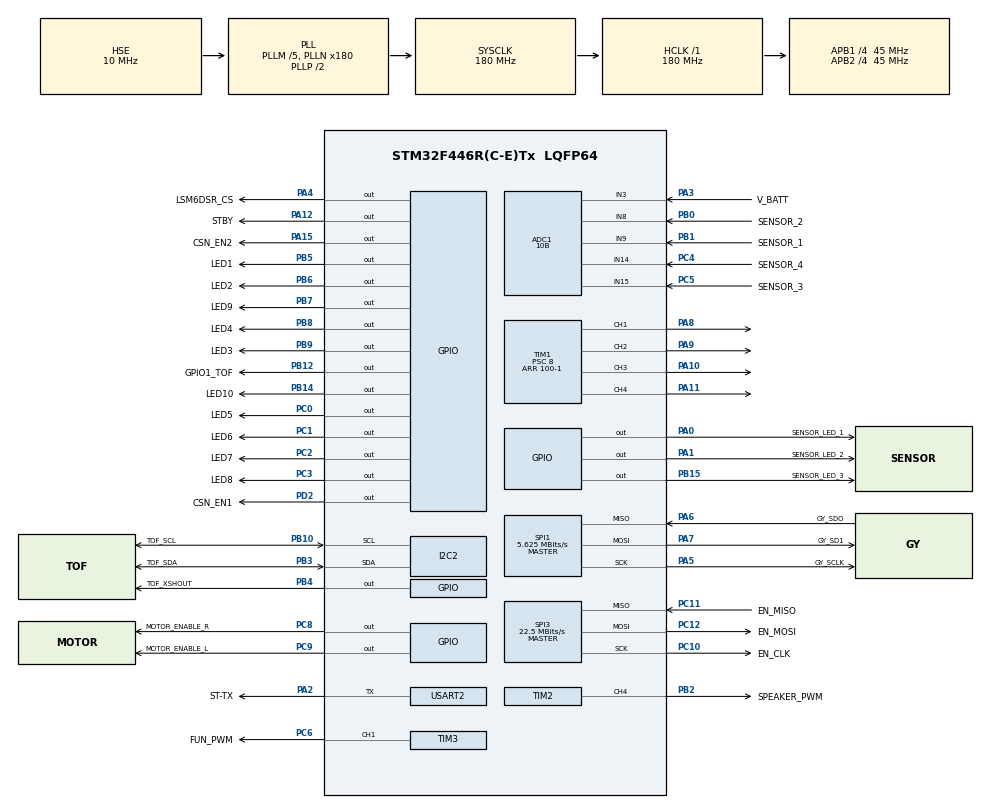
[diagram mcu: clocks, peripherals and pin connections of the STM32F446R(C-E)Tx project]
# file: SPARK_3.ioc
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ADC1.Channel-0\#ChannelRegularConversion=ADC_CHANNEL_3
ADC1.Channel-1\#ChannelRegularConversion=ADC_CHANNEL_9
ADC1.Channel-2\#ChannelRegularConversion=ADC_CHANNEL_8
ADC1.Channel-3\#ChannelRegularConversion=ADC_CHANNEL_15
ADC1.Channel-4\#ChannelRegularConversion=ADC_CHANNEL_14
ADC1.ClockPrescaler=ADC_CLOCK_SYNC_PCLK_DIV8
ADC1.DMAContinuousRequests=ENABLE
ADC1.EOCSelection=ADC_EOC_SINGLE_CONV
ADC1.InjNumberOfConversion=0
ADC1.NbrOfConversion=5
ADC1.NbrOfConversionFlag=1
ADC1.Rank-0\#ChannelRegularConversion=1
ADC1.Rank-1\#ChannelRegularConversion=2
ADC1.Rank-2\#ChannelRegularConversion=3
ADC1.Rank-3\#ChannelRegularConversion=4
ADC1.Rank-4\#ChannelRegularConversion=5
ADC1.Resolution=ADC_RESOLUTION_10B
ADC1.SamplingTime-0\#ChannelRegularConversion=ADC_SAMPLETIME_15CYCLES
ADC1.SamplingTime-1\#ChannelRegularConversion=ADC_SAMPLETIME_15CYCLES
ADC1.SamplingTime-2\#ChannelRegularConversion=ADC_SAMPLETIME_15CYCLES
ADC1.SamplingTime-3\#ChannelRegularConversion=ADC_SAMPLETIME_15CYCLES
ADC1.SamplingTime-4\#ChannelRegularConversion=ADC_SAMPLETIME_15CYCLES
ADC1.ScanConvMode=ENABLE
ADC1.master=1
Dma.ADC1.0.Direction=DMA_PERIPH_TO_MEMORY
Dma.ADC1.0.FIFOMode=DMA_FIFOMODE_DISABLE
Dma.ADC1.0.Instance=DMA2_Stream0
Dma.ADC1.0.MemDataAlignment=DMA_MDATAALIGN_HALFWORD
Dma.ADC1.0.MemInc=DMA_MINC_ENABLE
Dma.ADC1.0.Mode=DMA_NORMAL
Dma.ADC1.0.PeriphDataAlignment=DMA_PDATAALIGN_HALFWORD
Dma.ADC1.0.PeriphInc=DMA_PINC_DISABLE
Dma.ADC1.0.Priority=DMA_PRIORITY_LOW
Dma.Request0=ADC1
Mcu.Family=STM32F4
Mcu.Name=STM32F446R(C-E)Tx
Mcu.Package=LQFP64
NVIC.ADC_IRQn=true\:0\:0\:false\:false\:true\:true\:true\:true
NVIC.DMA2_Stream0_IRQn=true\:0\:0\:false\:false\:true\:false\:true\:true
NVIC.PriorityGroup=NVIC_PRIORITYGROUP_4
NVIC.TIM6_DAC_IRQn=true\:0\:0\:false\:false\:true\:true\:true\:true
PA0-WKUP.GPIO_Label=SENSOR_LED_1
PA0-WKUP.Signal=GPIO_Output
PA1.GPIO_Label=SENSOR_LED_2
PA1.Signal=GPIO_Output
PA10.Signal=S_TIM1_CH3
PA11.Signal=S_TIM1_CH4
PA12.GPIO_Label=STBY
PA12.Signal=GPIO_Output
PA13.Signal=SYS_JTMS-SWDIO
PA14.Signal=SYS_JTCK-SWCLK
PA15.GPIO_Label=CSN_EN2
PA15.Signal=GPIO_Output
PA2.GPIO_Label=ST-TX
PA2.Mode=Half_duplex(single_wire_mode)
PA2.Signal=USART2_TX
PA3.GPIO_Label=V_BATT
PA3.Signal=ADCx_IN3
PA4.GPIO_Label=LSM6DSR_CS
PA4.GPIO_PuPd=GPIO_NOPULL
PA4.PinState=GPIO_PIN_RESET
PA4.Signal=GPIO_Output
PA5.GPIO_Label=GY_SCLK
PA5.Mode=Full_Duplex_Master
PA5.Signal=SPI1_SCK
PA6.GPIO_Label=GY_SDO
PA6.Mode=Full_Duplex_Master
PA6.Signal=SPI1_MISO
PA7.GPIO_Label=GY_SD1
PA7.Mode=Full_Duplex_Master
PA7.Signal=SPI1_MOSI
PA8.Signal=S_TIM1_CH1
PA9.Signal=S_TIM1_CH2
PB0.GPIO_Label=SENSOR_2
PB0.Signal=ADCx_IN8
PB1.GPIO_Label=SENSOR_1
PB1.Signal=ADCx_IN9
PB10.GPIO_Label=TOF_SCL
PB10.Mode=I2C
PB10.Signal=I2C2_SCL
PB12.GPIO_Label=GPIO1_TOF
PB12.Signal=GPIO_Output
PB14.GPIO_Label=LED10
PB14.Signal=GPIO_Output
PB15.GPIO_Label=SENSOR_LED_3
PB15.Signal=GPIO_Output
PB2.GPIO_Label=SPEAKER_PWM
PB2.Signal=S_TIM2_CH4
PB3.GPIO_Label=TOF_SDA
PB3.Mode=I2C
PB3.Signal=I2C2_SDA
PB4.GPIO_Label=TOF_XSHOUT
PB4.Signal=GPIO_Output
PB5.GPIO_Label=LED1
PB5.GPIO_PuPd=GPIO_NOPULL
PB5.PinState=GPIO_PIN_RESET
PB5.Signal=GPIO_Output
PB6.GPIO_Label=LED2
PB6.GPIO_PuPd=GPIO_PULLUP
PB6.PinState=GPIO_PIN_RESET
PB6.Signal=GPIO_Output
PB7.GPIO_Label=LED9
PB7.GPIO_PuPd=GPIO_PULLUP
PB7.PinState=GPIO_PIN_RESET
PB7.Signal=GPIO_Output
PB8.GPIO_Label=LED4
PB8.GPIO_PuPd=GPIO_PULLUP
PB8.PinState=GPIO_PIN_RESET
PB8.Signal=GPIO_Output
PB9.GPIO_Label=LED3
PB9.GPIO_PuPd=GPIO_PULLUP
PB9.PinState=GPIO_PIN_RESET
PB9.Signal=GPIO_Output
PC0.GPIO_Label=LED5
PC0.GPIO_PuPd=GPIO_PULLUP
PC0.PinState=GPIO_PIN_RESET
PC0.Signal=GPIO_Output
PC1.GPIO_Label=LED6
PC1.GPIO_PuPd=GPIO_PULLUP
PC1.PinState=GPIO_PIN_RESET
PC1.Signal=GPIO_Output
PC10.GPIO_Label=EN_CLK
PC10.Mode=Full_Duplex_Master
PC10.Signal=SPI3_SCK
PC11.GPIO_Label=EN_MISO
PC11.Mode=Full_Duplex_Master
PC11.Signal=SPI3_MISO
PC12.GPIO_Label=EN_MOSI
PC12.Mode=Full_Duplex_Master
PC12.Signal=SPI3_MOSI
PC2.GPIO_Label=LED7
PC2.GPIO_PuPd=GPIO_NOPULL
PC2.PinState=GPIO_PIN_RESET
PC2.Signal=GPIO_Output
PC3.GPIO_Label=LED8
PC3.GPIO_PuPd=GPIO_PULLUP
PC3.PinState=GPIO_PIN_RESET
PC3.Signal=GPIO_Output
PC4.GPIO_Label=SENSOR_4
PC4.Signal=ADCx_IN14
PC5.GPIO_Label=SENSOR_3
PC5.Signal=ADCx_IN15
PC6.GPIO_Label=FUN_PWM
PC6.Signal=S_TIM3_CH1
PC8.GPIO_Label=MOTOR_ENABLE_R
PC8.Signal=GPIO_Output
PC9.GPIO_Label=MOTOR_ENABLE_L
PC9.Signal=GPIO_Output
PD2.GPIO_Label=CSN_EN1
PD2.Signal=GPIO_Output
PH0-OSC_IN.Mode=HSE-External-Oscillator
PH0-OSC_IN.Signal=RCC_OSC_IN
PH1-OSC_OUT.Mode=HSE-External-Oscillator
PH1-OSC_OUT.Signal=RCC_OSC_OUT
ProjectManager.HeapSize=0x200
ProjectManager.StackSize=0x400
ProjectManager.TargetToolchain=STM32CubeIDE
RCC.AHBFreq_Value=180000000
RCC.APB1CLKDivider=RCC_HCLK_DIV4
RCC.APB1Freq_Value=45000000
RCC.APB1TimFreq_Value=90000000
RCC.APB2CLKDivider=RCC_HCLK_DIV4
RCC.APB2Freq_Value=45000000
RCC.APB2TimFreq_Value=90000000
RCC.CortexFreq_Value=180000000
RCC.HCLKFreq_Value=180000000
RCC.HSE_VALUE=10000000
RCC.PLLM=5
RCC.PLLN=180
RCC.PLLSourceVirtual=RCC_PLLSOURCE_HSE
RCC.SYSCLKFreq_VALUE=180000000
RCC.SYSCLKSource=RCC_SYSCLKSOURCE_PLLCLK
RCC.USBFreq_Value=180000000
RCC.VCOOutputFreq_Value=360000000
SH.ADCx_IN14.0=ADC1_IN14,IN14
SH.ADCx_IN15.0=ADC1_IN15,IN15
SH.ADCx_IN3.0=ADC1_IN3,IN3
SH.ADCx_IN8.0=ADC1_IN8,IN8
SH.ADCx_IN9.0=ADC1_IN9,IN9
SH.S_TIM1_CH1.0=TIM1_CH1,PWM Generation1 CH1
SH.S_TIM1_CH2.0=TIM1_CH2,PWM Generation2 CH2
SH.S_TIM1_CH3.0=TIM1_CH3,PWM Generation3 CH3
SH.S_TIM1_CH4.0=TIM1_CH4,PWM Generation4 CH4
SH.S_TIM2_CH4.0=TIM2_CH4,PWM Generation4 CH4
SH.S_TIM3_CH1.0=TIM3_CH1,PWM Generation1 CH1
SPI1.BaudRatePrescaler=SPI_BAUDRATEPRESCALER_8
SPI1.CLKPhase=SPI_PHASE_2EDGE
SPI1.CLKPolarity=SPI_POLARITY_HIGH
SPI1.CalculateBaudRate=5.625 MBits/s
SPI1.Direction=SPI_DIRECTION_2LINES
SPI1.Mode=SPI_MODE_MASTER
SPI1.VirtualType=VM_MASTER
SPI3.BaudRatePrescaler=SPI_BAUDRATEPRESCALER_2
SPI3.CLKPhase=SPI_PHASE_2EDGE
SPI3.CLKPolarity=SPI_POLARITY_HIGH
SPI3.CalculateBaudRate=22.5 MBits/s
SPI3.Direction=SPI_DIRECTION_2LINES
SPI3.Mode=SPI_MODE_MASTER
SPI3.VirtualType=VM_MASTER
TIM1.Channel-PWM\ Generation1\ CH1=TIM_CHANNEL_1
TIM1.Channel-PWM\ Generation2\ CH2=TIM_CHANNEL_2
TIM1.Channel-PWM\ Generation3\ CH3=TIM_CHANNEL_3
TIM1.Channel-PWM\ Generation4\ CH4=TIM_CHANNEL_4
TIM1.OCMode_PWM-PWM\ Generation3\ CH3=TIM_OCMODE_PWM1
TIM1.OCMode_PWM-PWM\ Generation4\ CH4=TIM_OCMODE_PWM1
TIM1.Period=100-1
TIM1.Prescaler=8
TIM2.Channel-PWM\ Generation4\ CH4=TIM_CHANNEL_4
TIM2.Period=100-1
TIM2.Prescaler=8-1
TIM2.Pulse-PWM\ Generation4\ CH4=2500-1
TIM3.Channel-PWM\ Generation1\ CH1=TIM_CHANNEL_1
TIM3.Period=100-1
TIM3.Prescaler=8
TIM6.AutoReloadPreload=TIM_AUTORELOAD_PRELOAD_DISABLE
TIM6.Period=1000-1
TIM6.Prescaler=90-1
USART2.Mode=MODE_TX
USART2.VirtualMode=VM_ASYNC
VP_TIM1_VS_ClockSourceINT.Mode=Internal
VP_TIM3_VS_ClockSourceINT.Mode=Internal
VP_TIM4_VS_OPM.Mode=OPM_bit
VP_TIM6_VS_ClockSourceINT.Mode=Enable_Timer
board=custom

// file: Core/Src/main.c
/* USER CODE BEGIN Header */
/**
  ******************************************************************************
  * @file           : main.c
  * @brief          : Main program body
  ******************************************************************************
  * @attention
  *
  * Copyright (c) 2025 STMicroelectronics.
  * All rights reserved.
  *
  * This software is licensed under terms that can be found in the LICENSE file
  * in the root directory of this software component.
  * If no LICENSE file comes with this software, it is provided AS-IS.
  *
  ******************************************************************************
  */
/* USER CODE END Header */
#include "main.h"

/* USER CODE BEGIN Includes */
#include "stdio.h"

#include "PL_timer.h"
#include "PL_sensor.h"

#include "MOTOR.h"

#include "lsm6dsr.h"
#include "MOTOR.h"
#include "SWICH.h"
#include "adc.h"
#include "SPEAKER.h"
#include "PL_encoder.h"
#include "spi.h"
#include "stdio.h"
#include "Define.h"
#include <math.h>
#include "lsm6dsr.h"
#include "PID.h"
#include "mode.h"
#include "led_control.h"
#include "wall.h"
#include "log.h"
#include "move.h"
#include "PL_encoder.h"

//#include "lsm6dsr.h"
//#include "spi.h"

/* USER CODE END Includes */

ADC_HandleTypeDef hadc1;
DMA_HandleTypeDef hdma_adc1;

I2C_HandleTypeDef hi2c2;

SPI_HandleTypeDef hspi1;
SPI_HandleTypeDef hspi3;

TIM_HandleTypeDef htim1;
TIM_HandleTypeDef htim2;
TIM_HandleTypeDef htim3;
TIM_HandleTypeDef htim4;
TIM_HandleTypeDef htim6;

UART_HandleTypeDef huart2;

void SystemClock_Config(void);
static void MX_GPIO_Init(void);
static void MX_DMA_Init(void);
static void MX_SPI1_Init(void);
static void MX_SPI3_Init(void);
static void MX_TIM1_Init(void);
static void MX_ADC1_Init(void);
static void MX_I2C2_Init(void);
static void MX_TIM4_Init(void);
static void MX_USART2_UART_Init(void);
static void MX_TIM6_Init(void);
static void MX_TIM2_Init(void);
static void MX_TIM3_Init(void);

int main(void)
{

  /* MCU Configuration--------------------------------------------------------*/

  /* Reset of all peripherals, Initializes the Flash interface and the Systick. */
  HAL_Init();

  /* USER CODE BEGIN Init */
  setbuf(stdout, NULL);
  /* USER CODE END Init */

  /* Configure the system clock */
  SystemClock_Config();

  /* Initialize all configured peripherals */
  MX_GPIO_Init();
  MX_DMA_Init();
  MX_SPI1_Init();
  MX_SPI3_Init();
  MX_TIM1_Init();
  MX_ADC1_Init();
  MX_I2C2_Init();
  MX_TIM4_Init();
  MX_USART2_UART_Init();
  MX_TIM6_Init();
  MX_TIM2_Init();
  MX_TIM3_Init();
  /* USER CODE BEGIN 2 */
	//LED_All_On();
  pl_timer_init();
	//LED_All_Off();
  lsm6dsr_init();
  uint8_t battey_count=0;
  /* USER CODE END 2 */

  /* Infinite loop */
  /* USER CODE BEGIN WHILE */
 // HAL_TIM_PWM_Start(&htim3, TIM_CHANNEL_1);
 // Motor_Setup();
//  wall_conf_flag=1;

//	Motor_Setup();
  while (1)
  {
    /* USER CODE END WHILE */

    /* USER CODE BEGIN 3 */
	   // Encorder_Speed_Calculate();
	  ModeSelection();
	 //   __HAL_TIM_SET_COMPARE(&htim3, TIM_CHANNEL_1, 30);
wait_ms(5);
	//  print_g_sensor();
//	  printf("PID_wall,%f\n\r",PID_wall);
//Encorder_Speed_Calculate();
//lsm6dsr_print();
/*	  lsm6dsr_print();
		Motor_Setup();

		FUN_PWM_Setup();
        FUN_PID_flag=1;
        FUN_MOTOR_flag = 3;
        wait_ms(4000);

		wait_ms(500);
		log_flag=0;
		motor_stop_flag=1;
        FUN_MOTOR_flag = 0;*/
//printf("V_BATT=%f\n\r",g_V_batt);
//wait_ms(500);
	 if(g_V_batt<11.7&&battey_count<=1){
		printf("V_BATT=%f\n\r",g_V_batt);
		for(int i=1;i<=10;i++){
			LED_On(i);
			HAL_Delay(200);
		}
		LED_All_Off();
		battey_count++;
	  }
/*		wall_conf_flag=1;
		PID_turn_flag=1;
		PID_Gyro_flag=1;
	wait_ms(40000);
		// motor_daikei_back(0,600,0,4000,140+180*currentMode.sub_mode);
		//motor_daikei(0,600,600,4000,140+180*currentMode.sub_mode);
	//motor_daikei(600,600,0,4000,180);
		log_flag=0;*/
	//	motor_stop_flag=1;
//	 Encorder_Speed_Calculate();
  }
  /* USER CODE END 3 */
}

void SystemClock_Config(void)
{
  RCC_OscInitTypeDef RCC_OscInitStruct = {0};
  RCC_ClkInitTypeDef RCC_ClkInitStruct = {0};

  /** Configure the main internal regulator output voltage
  */
  __HAL_RCC_PWR_CLK_ENABLE();
  __HAL_PWR_VOLTAGESCALING_CONFIG(PWR_REGULATOR_VOLTAGE_SCALE1);

  /** Initializes the RCC Oscillators according to the specified parameters
  * in the RCC_OscInitTypeDef structure.
  */
  RCC_OscInitStruct.OscillatorType = RCC_OSCILLATORTYPE_HSE;
  RCC_OscInitStruct.HSEState = RCC_HSE_ON;
  RCC_OscInitStruct.PLL.PLLState = RCC_PLL_ON;
  RCC_OscInitStruct.PLL.PLLSource = RCC_PLLSOURCE_HSE;
  RCC_OscInitStruct.PLL.PLLM = 5;
  RCC_OscInitStruct.PLL.PLLN = 180;
  RCC_OscInitStruct.PLL.PLLP = RCC_PLLP_DIV2;
  RCC_OscInitStruct.PLL.PLLQ = 2;
  RCC_OscInitStruct.PLL.PLLR = 2;
  if (HAL_RCC_OscConfig(&RCC_OscInitStruct) != HAL_OK)
  {
    Error_Handler();
  }

  /** Activate the Over-Drive mode
  */
  if (HAL_PWREx_EnableOverDrive() != HAL_OK)
  {
    Error_Handler();
  }

  /** Initializes the CPU, AHB and APB buses clocks
  */
  RCC_ClkInitStruct.ClockType = RCC_CLOCKTYPE_HCLK|RCC_CLOCKTYPE_SYSCLK
                              |RCC_CLOCKTYPE_PCLK1|RCC_CLOCKTYPE_PCLK2;
  RCC_ClkInitStruct.SYSCLKSource = RCC_SYSCLKSOURCE_PLLCLK;
  RCC_ClkInitStruct.AHBCLKDivider = RCC_SYSCLK_DIV1;
  RCC_ClkInitStruct.APB1CLKDivider = RCC_HCLK_DIV4;
  RCC_ClkInitStruct.APB2CLKDivider = RCC_HCLK_DIV4;

  if (HAL_RCC_ClockConfig(&RCC_ClkInitStruct, FLASH_LATENCY_5) != HAL_OK)
  {
    Error_Handler();
  }
}

static void MX_ADC1_Init(void)
{

  ADC_ChannelConfTypeDef sConfig = {0};

  /** Configure the global features of the ADC (Clock, Resolution, Data Alignment and number of conversion)
  */
  hadc1.Instance = ADC1;
  hadc1.Init.ClockPrescaler = ADC_CLOCK_SYNC_PCLK_DIV8;
  hadc1.Init.Resolution = ADC_RESOLUTION_10B;
  hadc1.Init.ScanConvMode = ENABLE;
  hadc1.Init.ContinuousConvMode = DISABLE;
  hadc1.Init.DiscontinuousConvMode = DISABLE;
  hadc1.Init.ExternalTrigConvEdge = ADC_EXTERNALTRIGCONVEDGE_NONE;
  hadc1.Init.ExternalTrigConv = ADC_SOFTWARE_START;
  hadc1.Init.DataAlign = ADC_DATAALIGN_RIGHT;
  hadc1.Init.NbrOfConversion = 5;
  hadc1.Init.DMAContinuousRequests = ENABLE;
  hadc1.Init.EOCSelection = ADC_EOC_SINGLE_CONV;
  if (HAL_ADC_Init(&hadc1) != HAL_OK)
  {
    Error_Handler();
  }

  /** Configure for the selected ADC regular channel its corresponding rank in the sequencer and its sample time.
  */
  sConfig.Channel = ADC_CHANNEL_3;
  sConfig.Rank = 1;
  sConfig.SamplingTime = ADC_SAMPLETIME_15CYCLES;
  if (HAL_ADC_ConfigChannel(&hadc1, &sConfig) != HAL_OK)
  {
    Error_Handler();
  }

  /** Configure for the selected ADC regular channel its corresponding rank in the sequencer and its sample time.
  */
  sConfig.Channel = ADC_CHANNEL_9;
  sConfig.Rank = 2;
  if (HAL_ADC_ConfigChannel(&hadc1, &sConfig) != HAL_OK)
  {
    Error_Handler();
  }

  /** Configure for the selected ADC regular channel its corresponding rank in the sequencer and its sample time.
  */
  sConfig.Channel = ADC_CHANNEL_8;
  sConfig.Rank = 3;
  if (HAL_ADC_ConfigChannel(&hadc1, &sConfig) != HAL_OK)
  {
    Error_Handler();
  }

  /** Configure for the selected ADC regular channel its corresponding rank in the sequencer and its sample time.
  */
  sConfig.Channel = ADC_CHANNEL_15;
  sConfig.Rank = 4;
  if (HAL_ADC_ConfigChannel(&hadc1, &sConfig) != HAL_OK)
  {
    Error_Handler();
  }

  /** Configure for the selected ADC regular channel its corresponding rank in the sequencer and its sample time.
  */
  sConfig.Channel = ADC_CHANNEL_14;
  sConfig.Rank = 5;
  if (HAL_ADC_ConfigChannel(&hadc1, &sConfig) != HAL_OK)
  {
    Error_Handler();
  }

}

static void MX_I2C2_Init(void)
{

  hi2c2.Instance = I2C2;
  hi2c2.Init.ClockSpeed = 100000;
  hi2c2.Init.DutyCycle = I2C_DUTYCYCLE_2;
  hi2c2.Init.OwnAddress1 = 0;
  hi2c2.Init.AddressingMode = I2C_ADDRESSINGMODE_7BIT;
  hi2c2.Init.DualAddressMode = I2C_DUALADDRESS_DISABLE;
  hi2c2.Init.OwnAddress2 = 0;
  hi2c2.Init.GeneralCallMode = I2C_GENERALCALL_DISABLE;
  hi2c2.Init.NoStretchMode = I2C_NOSTRETCH_DISABLE;
  if (HAL_I2C_Init(&hi2c2) != HAL_OK)
  {
    Error_Handler();
  }

}

static void MX_SPI1_Init(void)
{

  /* SPI1 parameter configuration*/
  hspi1.Instance = SPI1;
  hspi1.Init.Mode = SPI_MODE_MASTER;
  hspi1.Init.Direction = SPI_DIRECTION_2LINES;
  hspi1.Init.DataSize = SPI_DATASIZE_8BIT;
  hspi1.Init.CLKPolarity = SPI_POLARITY_HIGH;
  hspi1.Init.CLKPhase = SPI_PHASE_2EDGE;
  hspi1.Init.NSS = SPI_NSS_SOFT;
  hspi1.Init.BaudRatePrescaler = SPI_BAUDRATEPRESCALER_8;
  hspi1.Init.FirstBit = SPI_FIRSTBIT_MSB;
  hspi1.Init.TIMode = SPI_TIMODE_DISABLE;
  hspi1.Init.CRCCalculation = SPI_CRCCALCULATION_DISABLE;
  hspi1.Init.CRCPolynomial = 10;
  if (HAL_SPI_Init(&hspi1) != HAL_OK)
  {
    Error_Handler();
  }

}

static void MX_SPI3_Init(void)
{

  /* SPI3 parameter configuration*/
  hspi3.Instance = SPI3;
  hspi3.Init.Mode = SPI_MODE_MASTER;
  hspi3.Init.Direction = SPI_DIRECTION_2LINES;
  hspi3.Init.DataSize = SPI_DATASIZE_8BIT;
  hspi3.Init.CLKPolarity = SPI_POLARITY_HIGH;
  hspi3.Init.CLKPhase = SPI_PHASE_2EDGE;
  hspi3.Init.NSS = SPI_NSS_SOFT;
  hspi3.Init.BaudRatePrescaler = SPI_BAUDRATEPRESCALER_2;
  hspi3.Init.FirstBit = SPI_FIRSTBIT_MSB;
  hspi3.Init.TIMode = SPI_TIMODE_DISABLE;
  hspi3.Init.CRCCalculation = SPI_CRCCALCULATION_DISABLE;
  hspi3.Init.CRCPolynomial = 10;
  if (HAL_SPI_Init(&hspi3) != HAL_OK)
  {
    Error_Handler();
  }

}

static void MX_TIM1_Init(void)
{

  TIM_ClockConfigTypeDef sClockSourceConfig = {0};
  TIM_MasterConfigTypeDef sMasterConfig = {0};
  TIM_OC_InitTypeDef sConfigOC = {0};
  TIM_BreakDeadTimeConfigTypeDef sBreakDeadTimeConfig = {0};

  htim1.Instance = TIM1;
  htim1.Init.Prescaler = 8;
  htim1.Init.CounterMode = TIM_COUNTERMODE_UP;
  htim1.Init.Period = 100-1;
  htim1.Init.ClockDivision = TIM_CLOCKDIVISION_DIV1;
  htim1.Init.RepetitionCounter = 0;
  htim1.Init.AutoReloadPreload = TIM_AUTORELOAD_PRELOAD_DISABLE;
  if (HAL_TIM_Base_Init(&htim1) != HAL_OK)
  {
    Error_Handler();
  }
  sClockSourceConfig.ClockSource = TIM_CLOCKSOURCE_INTERNAL;
  if (HAL_TIM_ConfigClockSource(&htim1, &sClockSourceConfig) != HAL_OK)
  {
    Error_Handler();
  }
  if (HAL_TIM_PWM_Init(&htim1) != HAL_OK)
  {
    Error_Handler();
  }
  sMasterConfig.MasterOutputTrigger = TIM_TRGO_RESET;
  sMasterConfig.MasterSlaveMode = TIM_MASTERSLAVEMODE_DISABLE;
  if (HAL_TIMEx_MasterConfigSynchronization(&htim1, &sMasterConfig) != HAL_OK)
  {
    Error_Handler();
  }
  sConfigOC.OCMode = TIM_OCMODE_PWM1;
  sConfigOC.Pulse = 0;
  sConfigOC.OCPolarity = TIM_OCPOLARITY_HIGH;
  sConfigOC.OCNPolarity = TIM_OCNPOLARITY_HIGH;
  sConfigOC.OCFastMode = TIM_OCFAST_DISABLE;
  sConfigOC.OCIdleState = TIM_OCIDLESTATE_RESET;
  sConfigOC.OCNIdleState = TIM_OCNIDLESTATE_RESET;
  if (HAL_TIM_PWM_ConfigChannel(&htim1, &sConfigOC, TIM_CHANNEL_1) != HAL_OK)
  {
    Error_Handler();
  }
  if (HAL_TIM_PWM_ConfigChannel(&htim1, &sConfigOC, TIM_CHANNEL_2) != HAL_OK)
  {
    Error_Handler();
  }
  if (HAL_TIM_PWM_ConfigChannel(&htim1, &sConfigOC, TIM_CHANNEL_3) != HAL_OK)
  {
    Error_Handler();
  }
  if (HAL_TIM_PWM_ConfigChannel(&htim1, &sConfigOC, TIM_CHANNEL_4) != HAL_OK)
  {
    Error_Handler();
  }
  sBreakDeadTimeConfig.OffStateRunMode = TIM_OSSR_DISABLE;
  sBreakDeadTimeConfig.OffStateIDLEMode = TIM_OSSI_DISABLE;
  sBreakDeadTimeConfig.LockLevel = TIM_LOCKLEVEL_OFF;
  sBreakDeadTimeConfig.DeadTime = 0;
  sBreakDeadTimeConfig.BreakState = TIM_BREAK_DISABLE;
  sBreakDeadTimeConfig.BreakPolarity = TIM_BREAKPOLARITY_HIGH;
  sBreakDeadTimeConfig.AutomaticOutput = TIM_AUTOMATICOUTPUT_DISABLE;
  if (HAL_TIMEx_ConfigBreakDeadTime(&htim1, &sBreakDeadTimeConfig) != HAL_OK)
  {
    Error_Handler();
  }
  HAL_TIM_MspPostInit(&htim1);

}

static void MX_TIM2_Init(void)
{

  TIM_MasterConfigTypeDef sMasterConfig = {0};
  TIM_OC_InitTypeDef sConfigOC = {0};

  htim2.Instance = TIM2;
  htim2.Init.Prescaler = 8-1;
  htim2.Init.CounterMode = TIM_COUNTERMODE_UP;
  htim2.Init.Period = 100-1;
  htim2.Init.ClockDivision = TIM_CLOCKDIVISION_DIV1;
  htim2.Init.AutoReloadPreload = TIM_AUTORELOAD_PRELOAD_DISABLE;
  if (HAL_TIM_PWM_Init(&htim2) != HAL_OK)
  {
    Error_Handler();
  }
  sMasterConfig.MasterOutputTrigger = TIM_TRGO_RESET;
  sMasterConfig.MasterSlaveMode = TIM_MASTERSLAVEMODE_DISABLE;
  if (HAL_TIMEx_MasterConfigSynchronization(&htim2, &sMasterConfig) != HAL_OK)
  {
    Error_Handler();
  }
  sConfigOC.OCMode = TIM_OCMODE_PWM1;
  sConfigOC.Pulse = 2500-1;
  sConfigOC.OCPolarity = TIM_OCPOLARITY_HIGH;
  sConfigOC.OCFastMode = TIM_OCFAST_DISABLE;
  if (HAL_TIM_PWM_ConfigChannel(&htim2, &sConfigOC, TIM_CHANNEL_4) != HAL_OK)
  {
    Error_Handler();
  }
  HAL_TIM_MspPostInit(&htim2);

}

static void MX_TIM3_Init(void)
{

  TIM_ClockConfigTypeDef sClockSourceConfig = {0};
  TIM_MasterConfigTypeDef sMasterConfig = {0};
  TIM_OC_InitTypeDef sConfigOC = {0};

  htim3.Instance = TIM3;
  htim3.Init.Prescaler = 8;
  htim3.Init.CounterMode = TIM_COUNTERMODE_UP;
  htim3.Init.Period = 100-1;
  htim3.Init.ClockDivision = TIM_CLOCKDIVISION_DIV1;
  htim3.Init.AutoReloadPreload = TIM_AUTORELOAD_PRELOAD_DISABLE;
  if (HAL_TIM_Base_Init(&htim3) != HAL_OK)
  {
    Error_Handler();
  }
  sClockSourceConfig.ClockSource = TIM_CLOCKSOURCE_INTERNAL;
  if (HAL_TIM_ConfigClockSource(&htim3, &sClockSourceConfig) != HAL_OK)
  {
    Error_Handler();
  }
  if (HAL_TIM_PWM_Init(&htim3) != HAL_OK)
  {
    Error_Handler();
  }
  sMasterConfig.MasterOutputTrigger = TIM_TRGO_RESET;
  sMasterConfig.MasterSlaveMode = TIM_MASTERSLAVEMODE_DISABLE;
  if (HAL_TIMEx_MasterConfigSynchronization(&htim3, &sMasterConfig) != HAL_OK)
  {
    Error_Handler();
  }
  sConfigOC.OCMode = TIM_OCMODE_PWM1;
  sConfigOC.Pulse = 0;
  sConfigOC.OCPolarity = TIM_OCPOLARITY_HIGH;
  sConfigOC.OCFastMode = TIM_OCFAST_DISABLE;
  if (HAL_TIM_PWM_ConfigChannel(&htim3, &sConfigOC, TIM_CHANNEL_1) != HAL_OK)
  {
    Error_Handler();
  }
  HAL_TIM_MspPostInit(&htim3);

}

static void MX_TIM4_Init(void)
{

  TIM_MasterConfigTypeDef sMasterConfig = {0};

  htim4.Instance = TIM4;
  htim4.Init.Prescaler = 0;
  htim4.Init.CounterMode = TIM_COUNTERMODE_UP;
  htim4.Init.Period = 65535;
  htim4.Init.ClockDivision = TIM_CLOCKDIVISION_DIV1;
  htim4.Init.AutoReloadPreload = TIM_AUTORELOAD_PRELOAD_DISABLE;
  if (HAL_TIM_OnePulse_Init(&htim4, TIM_OPMODE_SINGLE) != HAL_OK)
  {
    Error_Handler();
  }
  sMasterConfig.MasterOutputTrigger = TIM_TRGO_RESET;
  sMasterConfig.MasterSlaveMode = TIM_MASTERSLAVEMODE_DISABLE;
  if (HAL_TIMEx_MasterConfigSynchronization(&htim4, &sMasterConfig) != HAL_OK)
  {
    Error_Handler();
  }

}

static void MX_TIM6_Init(void)
{

  TIM_MasterConfigTypeDef sMasterConfig = {0};

  htim6.Instance = TIM6;
  htim6.Init.Prescaler = 90-1;
  htim6.Init.CounterMode = TIM_COUNTERMODE_UP;
  htim6.Init.Period = 1000-1;
  htim6.Init.AutoReloadPreload = TIM_AUTORELOAD_PRELOAD_DISABLE;
  if (HAL_TIM_Base_Init(&htim6) != HAL_OK)
  {
    Error_Handler();
  }
  sMasterConfig.MasterOutputTrigger = TIM_TRGO_RESET;
  sMasterConfig.MasterSlaveMode = TIM_MASTERSLAVEMODE_DISABLE;
  if (HAL_TIMEx_MasterConfigSynchronization(&htim6, &sMasterConfig) != HAL_OK)
  {
    Error_Handler();
  }

}

static void MX_USART2_UART_Init(void)
{

  huart2.Instance = USART2;
  huart2.Init.BaudRate = 115200;
  huart2.Init.WordLength = UART_WORDLENGTH_8B;
  huart2.Init.StopBits = UART_STOPBITS_1;
  huart2.Init.Parity = UART_PARITY_NONE;
  huart2.Init.Mode = UART_MODE_TX;
  huart2.Init.HwFlowCtl = UART_HWCONTROL_NONE;
  huart2.Init.OverSampling = UART_OVERSAMPLING_16;
  if (HAL_HalfDuplex_Init(&huart2) != HAL_OK)
  {
    Error_Handler();
  }

}

static void MX_DMA_Init(void)
{

  /* DMA controller clock enable */
  __HAL_RCC_DMA2_CLK_ENABLE();

  /* DMA interrupt init */
  /* DMA2_Stream0_IRQn interrupt configuration */
  HAL_NVIC_SetPriority(DMA2_Stream0_IRQn, 0, 0);
  HAL_NVIC_EnableIRQ(DMA2_Stream0_IRQn);

}

static void MX_GPIO_Init(void)
{
  GPIO_InitTypeDef GPIO_InitStruct = {0};

  /* GPIO Ports Clock Enable */
  __HAL_RCC_GPIOH_CLK_ENABLE();
  __HAL_RCC_GPIOC_CLK_ENABLE();
  __HAL_RCC_GPIOA_CLK_ENABLE();
  __HAL_RCC_GPIOB_CLK_ENABLE();
  __HAL_RCC_GPIOD_CLK_ENABLE();

  /*Configure GPIO pin Output Level */
  HAL_GPIO_WritePin(GPIOC, LED5_Pin|LED6_Pin|LED7_Pin|LED8_Pin
                          |MOTOR_ENABLE_R_Pin|MOTOR_ENABLE_L_Pin, GPIO_PIN_RESET);

  /*Configure GPIO pin Output Level */
  HAL_GPIO_WritePin(GPIOA, SENSOR_LED_1_Pin|SENSOR_LED_2_Pin|LSM6DSR_CS_Pin|STBY_Pin
                          |CSN_EN2_Pin, GPIO_PIN_RESET);

  /*Configure GPIO pin Output Level */
  HAL_GPIO_WritePin(GPIOB, GPIO1_TOF_Pin|LED10_Pin|SENSOR_LED_3_Pin|TOF_XSHOUT_Pin
                          |LED1_Pin|LED2_Pin|LED9_Pin|LED4_Pin
                          |LED3_Pin, GPIO_PIN_RESET);

  /*Configure GPIO pin Output Level */
  HAL_GPIO_WritePin(CSN_EN1_GPIO_Port, CSN_EN1_Pin, GPIO_PIN_RESET);

  /*Configure GPIO pins : LED5_Pin LED6_Pin LED8_Pin */
  GPIO_InitStruct.Pin = LED5_Pin|LED6_Pin|LED8_Pin;
  GPIO_InitStruct.Mode = GPIO_MODE_OUTPUT_PP;
  GPIO_InitStruct.Pull = GPIO_PULLUP;
  GPIO_InitStruct.Speed = GPIO_SPEED_FREQ_LOW;
  HAL_GPIO_Init(GPIOC, &GPIO_InitStruct);

  /*Configure GPIO pins : LED7_Pin MOTOR_ENABLE_R_Pin MOTOR_ENABLE_L_Pin */
  GPIO_InitStruct.Pin = LED7_Pin|MOTOR_ENABLE_R_Pin|MOTOR_ENABLE_L_Pin;
  GPIO_InitStruct.Mode = GPIO_MODE_OUTPUT_PP;
  GPIO_InitStruct.Pull = GPIO_NOPULL;
  GPIO_InitStruct.Speed = GPIO_SPEED_FREQ_LOW;
  HAL_GPIO_Init(GPIOC, &GPIO_InitStruct);

  /*Configure GPIO pins : SENSOR_LED_1_Pin SENSOR_LED_2_Pin LSM6DSR_CS_Pin STBY_Pin
                           CSN_EN2_Pin */
  GPIO_InitStruct.Pin = SENSOR_LED_1_Pin|SENSOR_LED_2_Pin|LSM6DSR_CS_Pin|STBY_Pin
                          |CSN_EN2_Pin;
  GPIO_InitStruct.Mode = GPIO_MODE_OUTPUT_PP;
  GPIO_InitStruct.Pull = GPIO_NOPULL;
  GPIO_InitStruct.Speed = GPIO_SPEED_FREQ_LOW;
  HAL_GPIO_Init(GPIOA, &GPIO_InitStruct);

  /*Configure GPIO pins : GPIO1_TOF_Pin LED10_Pin SENSOR_LED_3_Pin TOF_XSHOUT_Pin
                           LED1_Pin */
  GPIO_InitStruct.Pin = GPIO1_TOF_Pin|LED10_Pin|SENSOR_LED_3_Pin|TOF_XSHOUT_Pin
                          |LED1_Pin;
  GPIO_InitStruct.Mode = GPIO_MODE_OUTPUT_PP;
  GPIO_InitStruct.Pull = GPIO_NOPULL;
  GPIO_InitStruct.Speed = GPIO_SPEED_FREQ_LOW;
  HAL_GPIO_Init(GPIOB, &GPIO_InitStruct);

  /*Configure GPIO pin : CSN_EN1_Pin */
  GPIO_InitStruct.Pin = CSN_EN1_Pin;
  GPIO_InitStruct.Mode = GPIO_MODE_OUTPUT_PP;
  GPIO_InitStruct.Pull = GPIO_NOPULL;
  GPIO_InitStruct.Speed = GPIO_SPEED_FREQ_LOW;
  HAL_GPIO_Init(CSN_EN1_GPIO_Port, &GPIO_InitStruct);

  /*Configure GPIO pins : LED2_Pin LED9_Pin LED4_Pin LED3_Pin */
  GPIO_InitStruct.Pin = LED2_Pin|LED9_Pin|LED4_Pin|LED3_Pin;
  GPIO_InitStruct.Mode = GPIO_MODE_OUTPUT_PP;
  GPIO_InitStruct.Pull = GPIO_PULLUP;
  GPIO_InitStruct.Speed = GPIO_SPEED_FREQ_LOW;
  HAL_GPIO_Init(GPIOB, &GPIO_InitStruct);

}

void Error_Handler(void)
{
  __disable_irq();
  while (1)
  {
  }
}
